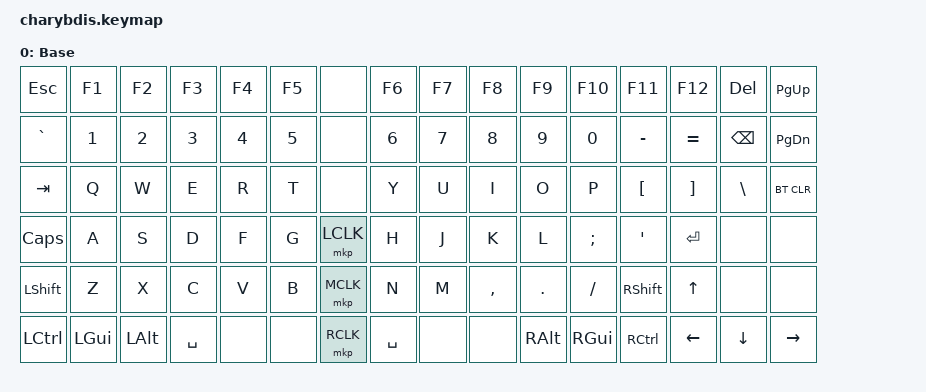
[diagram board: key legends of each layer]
#include <behaviors.dtsi>
#include <dt-bindings/zmk/mouse.h>
#include <dt-bindings/zmk/keys.h>
#include <dt-bindings/zmk/bt.h>
#include <dt-bindings/zmk/outputs.h>
#include <dt-bindings/zmk/keys.h>
#include <behaviors/mouse_keys.dtsi>

&lt {
    tapping-term-ms = <240>;
    flavor = "balanced";
    quick-tap-ms = <150>;
};

/ {
    keymap {
        compatible = "zmk,keymap";

        Base {
            label = "Base";
            bindings = <
  &kp ESC        &kp F1     &kp F2         &kp F3     &kp F4  &kp F5  &none        &kp F6      &kp F7      &kp F8        &kp F9         &kp F10    &kp F11       &kp F12    &kp DEL   &kp PG_UP
  &kp GRAVE      &kp N1     &kp N2         &kp N3     &kp N4  &kp N5  &none        &kp N6      &kp N7      &kp N8        &kp N9         &kp N0     &kp MINUS     &kp EQUAL  &kp BSPC  &kp PG_DN
  &kp TAB        &kp Q      &kp W          &kp E      &kp R   &kp T   &none        &kp Y       &kp U       &kp I         &kp O          &kp P      &kp LBKT      &kp RBKT   &kp BSLH  &bt BT_CLR
  &kp CAPSLOCK   &kp A      &kp S          &kp D      &kp F   &kp G   &mkp LCLK    &kp H       &kp J       &kp K         &kp L          &kp SEMI   &kp APOS      &kp RET    &none     &none                       
  &kp LSHFT      &kp Z      &kp X          &kp C      &kp V   &kp B   &mkp MCLK    &kp N       &kp M       &kp COMMA     &kp DOT        &kp FSLH   &kp RSHFT     &kp UP     &none     &none    
  &kp LCTRL      &kp LGUI   &kp LALT       &kp SPACE  &none   &none   &mkp RCLK    &kp SPACE   &none       &none         &kp RALT       &kp RGUI   &kp RCTRL     &kp LEFT   &kp DOWN  &kp RIGHT
            >;
        };
/*
        Lower {
            label = "Lower";
            bindings = <
      &trans    &trans    &kp UP     &trans     &trans    &trans       &kp N7   &kp N8  &kp N9   &kp N0  &kp HOME   &kp F1
      &trans  &kp LEFT  &kp DOWN  &kp RIGHT     &trans    &trans       &kp N4   &kp N5  &kp N6    &none    &trans  &kp F10
&kp LEFT_ALT    &trans    &trans     &trans  &kp MINUS  &kp PLUS       &kp N1   &kp N2  &kp N3  &kp DOT    &trans  &kp F20
                                   &kp LGUI  &kp SPACE    &trans    &kp RCTRL  &kp RET
            >;
        };

        Raise {
            label = "Raise";
            bindings = <
&trans      &kp EXCL       &kp AT    &kp HASH   &kp DLLR     &kp PRCNT    &kp CARET   &kp AMPS  &kp KP_MULTIPLY  &kp LPAR  &kp RPAR    &kp DEL
&trans    &bt BT_CLR   &bt BT_PRV  &bt BT_NXT     &trans         &to 3    &kp UNDER  &kp EQUAL         &kp LBKT  &kp RBKT  &kp BSLH  &kp GRAVE
&trans  &out OUT_TOG  &bootloader      &trans     &trans        &trans    &kp MINUS   &kp PLUS         &kp LBRC  &kp RBRC  &kp PIPE  &kp TILDE
                                     &kp LGUI  &kp SPACE  &kp LEFT_ALT       &trans    &bootloader
            >;
        };

        Game {
            label = "Game";
            bindings = <
&trans  &trans  &trans  &trans  &trans        &trans      &trans  &trans  &trans  &trans  &trans  &trans
&trans  &trans  &trans  &trans  &trans         &sl 4      &trans  &trans  &trans  &trans  &trans  &trans
&trans  &trans  &trans  &trans  &trans        &trans      &trans  &trans  &trans  &trans  &trans   &to 0
                        &trans  &trans  &kp LEFT_ALT    &kp RGUI  &trans
            >;
        };

        Game_++ {
            label = "Game ++";
            bindings = <
 &kt F5  &kp NUMBER_1  &kp NUMBER_2  &kp NUMBER_3  &kp NUMBER_4  &kp NUMBER_5    &kp LC(RA(Y))  &kp LC(RA(U))  &kp LC(RA(I))  &kp LC(RA(H))  &kp LC(RA(J))  &kp LC(RA(DEL))
  &to 3         &kp L         &kp O         &kp Y         &kp K         &kp G           &trans         &trans         &trans         &trans         &trans       &kp LA(F4)
&kp F10         &none         &to 0         &none  &kp NUMBER_6  &kp NUMBER_7           &trans         &trans         &trans         &trans         &trans            &to 0
                                            &kp J         &kp I         &kp M           &trans         &trans
            >;
        };

        Mouse {
            bindings = <
   &trans  &trans  &trans     &trans  &trans     &trans    &trans  &trans  &trans  &trans  &trans     &trans
   &trans  &trans  &trans     &trans  &trans     &trans    &trans  &trans  &trans  &trans  &trans     &trans
&mkp MCLK  &trans  &trans     &trans  &trans     &trans    &trans  &trans  &trans  &trans  &trans  &mkp LCLK
                           &mkp LCLK  &trans  &mkp RCLK    &trans  &trans
            >;
        };*/
    };
};

